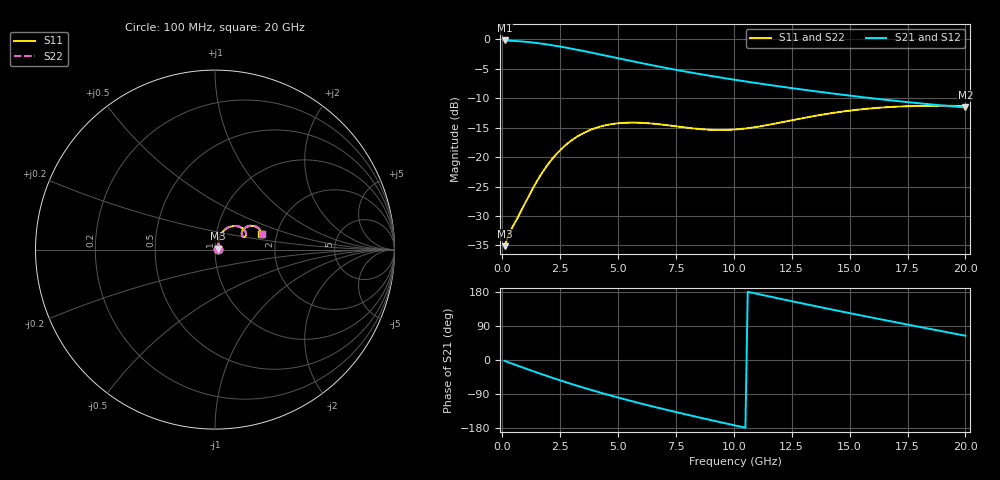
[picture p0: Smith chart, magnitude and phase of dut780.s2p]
! Touchstone file exported from HFSS 2024.1.0
!  File:  C:/UserFiles/LocalFiles/RDL_TSV_Batchsim/temp_RDL_TSV_780_1779905226.aedt
!  Generated:  02:23:46 AM May 28, 2026
!  Design:  RDL_TSV
!  Project:  temp_RDL_TSV_780_1779905226
!  Setup:  Setup1
!  Solution:  Sweep
! Variables:
!  dtsv = 7.71um
!  hbump = 3um
!  htsv = 70.74um
!  ldown = 670.54um
!  lrdl = 698.48um
!  p = 40
!  p1 = 42.71um
!  rhole = 10um
!  subl = 4805.54um
!  t = 450um
!  tdown = 4.87um
!  trdl = 4.53um
!  viad = 10um
!  wdown = 19.37um
!  wrdl = 25.48um
!  xbump = 18um
# GHz S MA R 50.000000
! Terminal data exported
! Port[1] = TM1_1_T1
! Port[2] = TM1_4_T1
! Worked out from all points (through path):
!   200 points, 100 MHz to 20 GHz, reference 50 ohm
!   highest |S21| = -0.16 dB at 100 MHz (marker M1); lowest = -11.5 dB at 20 GHz (marker M2)
!   group delay of S21, straight-line fit = 39.5 ps
!   lowest |S11| = -35.1 dB at 100 MHz (marker M3), VSWR 1.04, Z = 51.7 + j0.502 ohm
!   |S11| at or under -10 dB: start of sweep to end of sweep
!   |S22| runs from -35.1 to -11.2 dB; largest |S21 - S12| = 1.1e-14
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0.1  0.01753 16.1  0.9813 -2.4  0.9813 -2.4  0.01748 15.9
! Gamma 0 0 0 0
! Port Impedance 50 0 50 0
0.3  0.02239 32.4  0.9772 -6.9  0.9772 -6.9  0.02224 32.2
0.9  0.03771 59.0  0.9605 -20.2  0.9605 -20.2  0.03725 59.2
1.4  0.05795 68.5  0.9382 -31.1  0.9382 -31.1  0.0575 69.1
1.8  0.07784 69.9  0.9159 -39.5  0.9159 -39.5  0.07753 70.5
2.2  0.09907 68.1  0.8907 -47.8  0.8907 -47.8  0.09894 68.7
2.6  0.12 64.5  0.8635 -55.8  0.8635 -55.8  0.1201 65.0
3  0.1394 60.1  0.835 -63.6  0.835 -63.6  0.1396 60.5
3.5  0.1601 54.0  0.7986 -72.9  0.7986 -72.9  0.1605 54.4
4.2  0.1812 45.7  0.748 -85.5  0.748 -85.5  0.1818 46.0
5.1  0.1948 36.2  0.6863 -100.7  0.6863 -100.7  0.1954 36.4
5.9  0.1963 29.7  0.6365 -113.5  0.6365 -113.5  0.1969 29.9
6.8  0.1902 24.9  0.5867 -127.2  0.5867 -127.2  0.1907 25.1
7.6  0.1819 23.2  0.5479 -138.8  0.5479 -138.8  0.1822 23.3
8.4  0.1742 23.7  0.5135 -150.2  0.5135 -150.2  0.1745 23.9
10.1  0.1721 29.9  0.4526 -173.4  0.4526 -173.4  0.1724 30.2
11.8  0.1932 35.2  0.4037 164.1  0.4037 164.1  0.1939 35.6
13.4  0.2224 35.3  0.3656 143.6  0.3656 143.6  0.2236 35.6
15  0.2486 32.0  0.3334 123.7  0.3334 123.7  0.2502 32.3
16.7  0.2666 27.1  0.3051 103.0  0.3051 103.0  0.2686 27.4
18.3  0.2733 22.5  0.2833 84.0  0.2833 84.0  0.2756 22.7
20  0.2717 18.5  0.2647 64.0  0.2647 64.0  0.274 18.7
